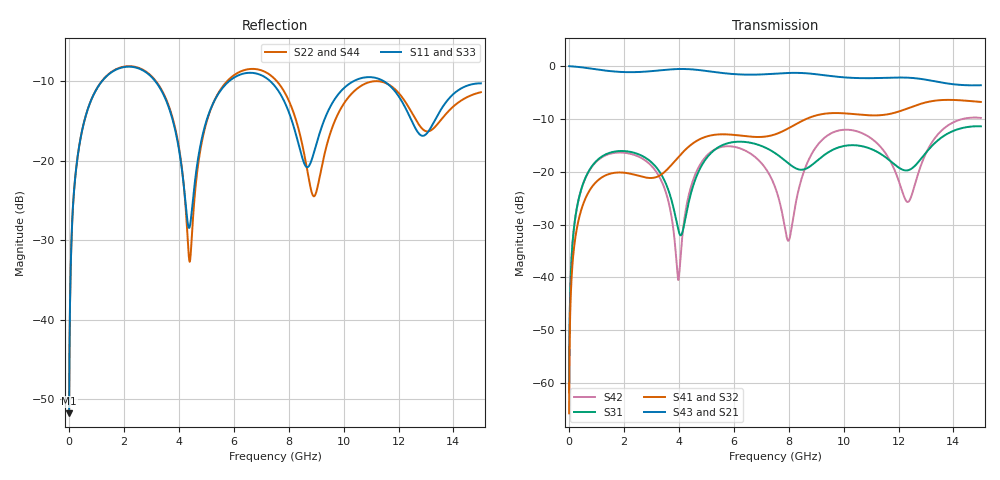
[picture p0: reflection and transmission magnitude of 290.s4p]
! Created with skrf 1.8.0 (http://scikit-rf.org).
# GHz S RI R 50.0
!freq ReS11 ImS11 ReS12 ImS12 ReS13 ImS13
! ReS14 ImS14
! ReS21 ImS21 ReS22 ImS22 ReS23 ImS23
! ReS24 ImS24
! ReS31 ImS31 ReS32 ImS32 ReS33 ImS33
! ReS34 ImS34
! ReS41 ImS41 ReS42 ImS42 ReS43 ImS43
! ReS44 ImS44
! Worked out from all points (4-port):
!   2499 points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, 5 MHz to 15 GHz, reference 50 ohm
!   strongest paths, dB at 5 MHz, 3.476 GHz, 7.19 GHz, 11.1 GHz, 15 GHz:
!     S43: 0.0, -0.7, -1.5, -2.3, -3.6
!     S21: 0.0, -0.7, -1.5, -2.3, -3.6
!     S41: -65.7, -20.1, -13.3, -9.3, -6.8
!     S32: -65.7, -20.1, -13.4, -9.4, -6.9
!     S31: -61.8, -21.7, -15.5, -15.9, -11.4
!     S42: -61.8, -23.1, -19.6, -14.1, -9.8
!   lowest |S11| = -51.8 dB at 5 MHz (marker M1), VSWR 1.01, Z = 50.2 + j0.156 ohm
!   |S11| at or under -10 dB: 3.151 GHz to 5.818 GHz (2.668 GHz wide, 59.5 % of centre); 7.341 GHz to 10.34 GHz (3.001 GHz wide, 33.9 % of centre); 11.48 GHz to end of sweep (the widest 3 of 4)
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0.005  0.00204 0.00155  0.9979 -0.00397  0.000104 0.000806  -0.000101 -0.000507
       0.9979 -0.00397  0.00204 0.00155  -0.000101 -0.000507  0.000104 0.000806
       0.000104 0.000806  -0.000101 -0.000507  0.00204 0.00155  0.9979 -0.00397
       -0.000101 -0.000507  0.000104 0.000806  0.9979 -0.00397  0.00204 0.00155
0.2626094  0.0268 0.0857  0.9636 -0.2078  0.0124 0.0399  -0.0101 -0.0248
           0.9636 -0.2078  0.0269 0.0857  -0.0101 -0.0248  0.0117 0.0401
           0.0124 0.0399  -0.0101 -0.0248  0.0268 0.0857  0.9636 -0.2078
           -0.0101 -0.0248  0.0117 0.0401  0.9636 -0.2078  0.0269 0.0857
1.269279  0.2762 0.1764  0.5346 -0.7368  0.1326 0.0532  -0.0906 -0.00391
          0.5346 -0.7368  0.2789 0.1745  -0.0905 -0.00406  0.1249 0.0641
          0.1326 0.0532  -0.0905 -0.00406  0.2763 0.1764  0.5346 -0.7368
          -0.0906 -0.00391  0.1249 0.0641  0.5346 -0.7368  0.2789 0.1746
4.29554  0.0383 -0.0229  -0.9282 -0.125  -0.0162 0.0398  -0.0177 0.166
         -0.9282 -0.125  0.0237 -0.0302  -0.0201 0.1657  0.0121 0.0484
         -0.0162 0.0398  -0.0201 0.1657  0.0377 -0.0231  -0.9282 -0.1252
         -0.0177 0.166  0.0121 0.0484  -0.9282 -0.1252  0.0242 -0.0304
8.791163  0.0941 0.0214  0.8386 0.1278  -0.0742 0.0852  0.0391 -0.3253
          0.8386 0.1278  0.058 -0.0363  0.0482 -0.3238  0.0616 0.1256
          -0.0742 0.0852  0.0482 -0.3238  0.0932 0.0249  0.8388 0.1274
          0.0391 -0.3253  0.0616 0.1256  0.8388 0.1274  0.0565 -0.035
11.55481  0.2987 -0.0831  -0.1084 -0.7665  0.0531 -0.1246  -0.3342 0.0962
          -0.1084 -0.7665  0.3028 -0.0562  -0.3364 0.0811  0.0783 -0.1232
          0.0531 -0.1246  -0.3364 0.0811  0.2972 -0.0877  -0.1077 -0.7673
          -0.3342 0.0962  0.0783 -0.1232  -0.1077 -0.7673  0.2998 -0.0497
15  0.3053 -0.0399  -0.4094 0.5177  0.2663 0.0375  0.4235 0.173
    -0.4094 0.5177  0.2693 -0.0283  0.4078 0.1892  0.3224 0.0208
    0.2663 0.0375  0.4078 0.1892  0.3211 -0.0422  -0.4097 0.5157
    0.4235 0.173  0.3224 0.0208  -0.4097 0.5157  0.2587 -0.0187
